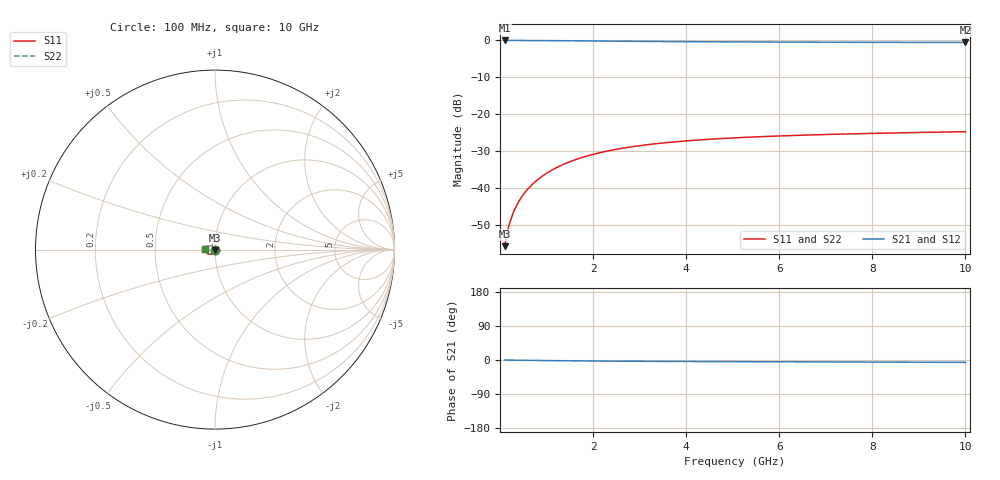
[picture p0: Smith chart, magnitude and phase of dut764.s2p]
! Touchstone file exported from HFSS 2024.1.0
!  File:  C:/UserFiles/LocalFiles/RDL_TSV_Batchsim/temp_TSV1_764_1779872826.aedt
!  Generated:  05:12:30 PM May 27, 2026
!  Design:  TSV1
!  Project:  temp_TSV1_764_1779872826
!  Setup:  Setup1
!  Solution:  Sweep
! Variables:
!  dtsv = 11.31um
!  hbump = 3um
!  htsv = 98.4um
!  lrdl = 252.1521522um
!  p = 40
!  p1 = 54.23um
!  t = 500um
!  trdl = 3um
!  wrdl = 24.89489489um
# GHz S MA R 50.000000
! Terminal data exported
! Port[1] = TSV22_T1
! Port[2] = TSV22_T2
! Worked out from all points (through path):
!   100 points, 100 MHz to 10 GHz, reference 50 ohm
!   highest |S21| = 0.00 dB at 100 MHz (marker M1); lowest = -0.5 dB at 10 GHz (marker M2)
!   lowest |S11| = -55.6 dB at 100 MHz (marker M3), VSWR 1.00, Z = 50 - j0.166 ohm
!   |S11| at or under -10 dB: start of sweep to end of sweep
!   |S22| runs from -55.6 to -24.7 dB; largest |S21 - S12| = 3.5e-15
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0.1  0.001661 -87.4  0.9998 -0.2  0.9998 -0.2  0.001661 -87.4
! Gamma 0 0 0 0
! Port Impedance 50 0 50 0
0.2  0.003314 -91.4  0.9996 -0.3  0.9996 -0.3  0.003314 -91.4
0.3  0.004965 -93.9  0.9993 -0.5  0.9993 -0.5  0.004965 -93.9
0.4  0.006609 -96.1  0.999 -0.6  0.999 -0.6  0.006609 -96.1
0.5  0.008239 -98.2  0.9985 -0.8  0.9985 -0.8  0.008239 -98.2
0.6  0.00985 -100.2  0.9979 -0.9  0.9979 -0.9  0.00985 -100.2
0.7  0.01144 -102.1  0.9972 -1.1  0.9972 -1.1  0.01144 -102.1
0.8  0.013 -104.0  0.9965 -1.2  0.9965 -1.2  0.013 -104.0
0.9  0.01453 -105.9  0.9957 -1.4  0.9957 -1.4  0.01453 -105.9
1.1  0.01749 -109.5  0.9938 -1.6  0.9938 -1.6  0.01749 -109.5
1.4  0.02165 -114.7  0.9907 -2.0  0.9907 -2.0  0.02165 -114.7
1.6  0.02422 -117.9  0.9885 -2.2  0.9885 -2.2  0.02422 -117.9
1.8  0.02663 -121.0  0.9861 -2.4  0.9861 -2.4  0.02663 -121.0
2.1  0.02993 -125.4  0.9826 -2.7  0.9826 -2.7  0.02993 -125.4
2.5  0.03379 -130.9  0.9779 -3.0  0.9779 -3.0  0.03379 -130.9
2.9  0.0371 -135.8  0.9735 -3.3  0.9735 -3.3  0.0371 -135.8
3.4  0.04056 -141.2  0.9685 -3.6  0.9685 -3.6  0.04056 -141.2
4.2  0.04488 -148.8  0.9617 -4.0  0.9617 -4.0  0.04488 -148.8
5.1  0.04849 -155.9  0.9556 -4.4  0.9556 -4.4  0.04849 -155.9
6.7  0.05293 -166.0  0.9481 -5.0  0.9481 -5.0  0.05293 -166.0
8.4  0.05616 -174.5  0.9429 -5.6  0.9429 -5.6  0.05616 -174.5
10  0.0585 178.8  0.9396 -6.2  0.9396 -6.2  0.0585 178.8
